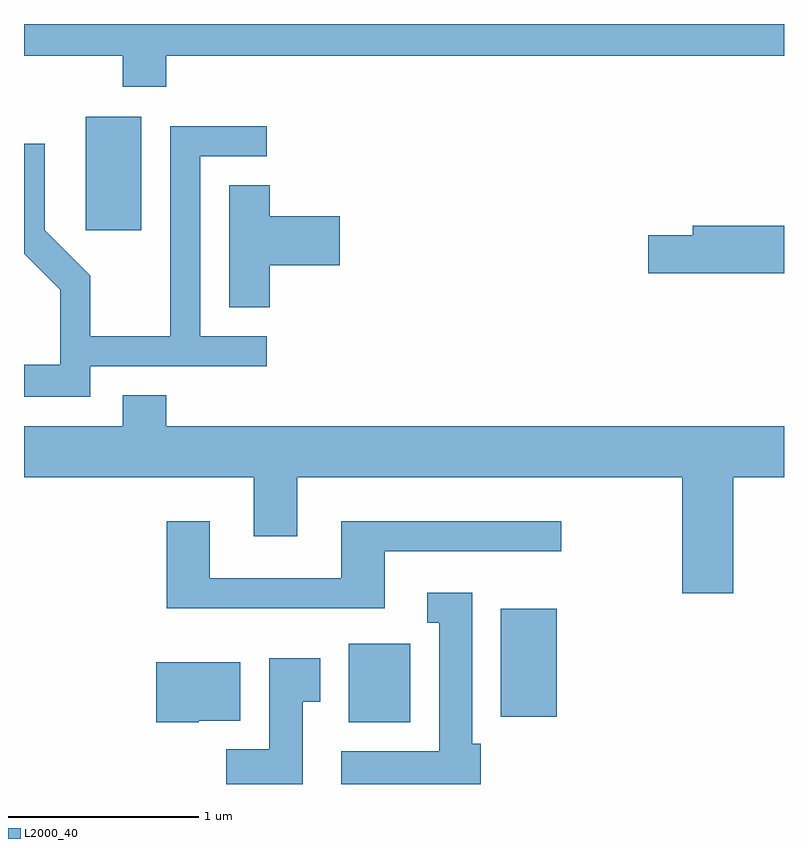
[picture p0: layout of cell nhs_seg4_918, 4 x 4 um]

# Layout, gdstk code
import gdstk
lib = gdstk.Library(unit=1e-6, precision=1e-09)
def R(c, l, rs):  # rectangles x0, y0, x1, y1
    for r in rs: c.add(gdstk.rectangle(r[:2], r[2:], *l))
def P(c, l, *ps):  # polygons
    for p in ps: c.add(gdstk.Polygon(p, *l))
L2000_40 = (2000, 40)

nhs_seg4_918 = lib.new_cell('nhs_seg4_918')
R(nhs_seg4_918, L2000_40, [(213.321,1322.306,213.644,1322.719), (214.121,1322.336,214.414,1322.904), (211.936,1324.896,212.229,1325.494)])
P(nhs_seg4_918, L2000_40, [(212.359,1325.816),(215.611,1325.816),(215.611,1325.982),(211.611,1325.982),(211.611,1325.816),(212.131,1325.816),(212.131,1325.651),(212.359,1325.651)],
  [(211.959,1324.181),(212.888,1324.181),(212.888,1324.339),(212.539,1324.339),(212.539,1325.286),(212.888,1325.286),(212.888,1325.444),(212.381,1325.444),(212.381,1324.339),(211.959,1324.339),(211.959,1324.657),(211.719,1324.897),(211.719,1325.353),(211.611,1325.353),(211.611,1324.774),(211.801,1324.584),(211.801,1324.189),(211.611,1324.189),(211.611,1324.021),(211.959,1324.021)],
  [(212.904,1324.711),(213.274,1324.711),(213.274,1324.969),(212.904,1324.969),(212.904,1325.134),(212.691,1325.134),(212.691,1324.491),(212.904,1324.491)],
  [(215.611,1324.919),(215.131,1324.919),(215.131,1324.869),(214.896,1324.869),(214.896,1324.671),(215.611,1324.671)],
  [(215.344,1323.596),(215.611,1323.596),(215.611,1323.864),(212.359,1323.864),(212.359,1324.029),(212.131,1324.029),(212.131,1323.864),(211.611,1323.864),(211.611,1323.596),(212.821,1323.596),(212.821,1323.286),(213.049,1323.286),(213.049,1323.596),(215.076,1323.596),(215.076,1322.986),(215.344,1322.986)],
  [(213.509,1323.206),(214.438,1323.206),(214.438,1323.364),(213.281,1323.364),(213.281,1323.064),(212.589,1323.064),(212.589,1323.364),(212.361,1323.364),(212.361,1322.906),(213.509,1322.906)],
  [(214.014,1322.194),(213.969,1322.194),(213.969,1322.989),(213.733,1322.989),(213.733,1322.831),(213.796,1322.831),(213.796,1322.154),(213.281,1322.154),(213.281,1321.982),(214.014,1321.982)],
  [(213.079,1322.416),(213.169,1322.416),(213.169,1322.644),(212.901,1322.644),(212.901,1322.164),(212.676,1322.164),(212.676,1321.982),(213.079,1321.982)],
  [(212.53,1322.316),(212.749,1322.316),(212.749,1322.624),(212.306,1322.624),(212.306,1322.306),(212.53,1322.306)])

lib.write_gds('nhs_seg4_918.gds')
